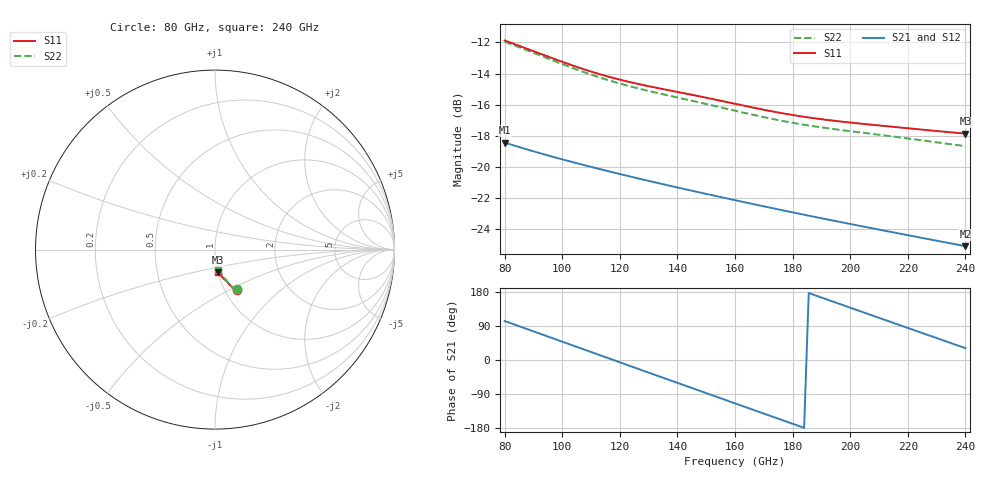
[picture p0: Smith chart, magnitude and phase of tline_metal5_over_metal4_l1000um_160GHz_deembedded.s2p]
! Created with skrf 2.2.0 (http://scikit-rf.org).
# GHz S DB R 50.0
! Port[1] = P1
! Port[2] = P2
!freq dBS11 angS11 dBS21 angS21 dBS12 angS12 dBS22 angS22
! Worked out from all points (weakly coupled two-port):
!   101 points, 80 GHz to 240 GHz, reference 50 ohm
!   highest |S21| = -18.43 dB at 80 GHz (marker M1); lowest = -25.1 dB at 240 GHz (marker M2)
!   lowest |S11| = -17.9 dB at 240 GHz (marker M3), VSWR 1.29, Z = 50.1 - j12.9 ohm
!   |S11| at or under -10 dB: start of sweep to end of sweep
!   |S22| runs from -18.7 to -11.9 dB; largest |S21 - S12| = 1.4e-13
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80  -11.87 -61.7  -18.43 103.0  -18.43 103.0  -11.95 -61.6
86.4  -12.31 -63.6  -18.80 85.5  -18.80 85.5  -12.40 -63.5
92.8  -12.75 -65.3  -19.14 68.0  -19.14 68.0  -12.87 -65.2
100.8  -13.30 -67.0  -19.55 46.2  -19.55 46.2  -13.45 -66.9
107.2  -13.70 -68.0  -19.86 28.8  -19.86 28.8  -13.88 -68.0
113.6  -14.07 -68.8  -20.16 11.4  -20.16 11.4  -14.29 -68.7
120  -14.39 -69.5  -20.45 -6.0  -20.45 -6.0  -14.64 -69.4
126.4  -14.67 -70.2  -20.74 -23.4  -20.74 -23.4  -14.95 -70.0
134.4  -14.98 -71.2  -21.08 -45.1  -21.08 -45.1  -15.30 -70.9
140.8  -15.21 -72.2  -21.35 -62.5  -21.35 -62.5  -15.57 -71.7
147.2  -15.45 -73.2  -21.62 -79.8  -21.62 -79.8  -15.84 -72.6
153.6  -15.69 -74.2  -21.88 -97.1  -21.88 -97.1  -16.11 -73.4
160  -15.94 -75.1  -22.14 -114.4  -22.14 -114.4  -16.39 -74.2
168  -16.25 -75.9  -22.45 -136.0  -22.45 -136.0  -16.72 -74.9
174.4  -16.48 -76.5  -22.70 -153.2  -22.70 -153.2  -16.97 -75.3
180.8  -16.69 -76.9  -22.95 -170.4  -22.95 -170.4  -17.19 -75.6
187.2  -16.86 -77.3  -23.19 172.4  -23.19 172.4  -17.38 -76.0
193.6  -17.01 -77.7  -23.43 155.2  -23.43 155.2  -17.55 -76.3
201.6  -17.18 -78.3  -23.72 133.8  -23.72 133.8  -17.74 -76.9
214.4  -17.41 -79.5  -24.18 99.5  -24.18 99.5  -18.03 -78.1
225.6  -17.61 -80.7  -24.58 69.6  -24.58 69.6  -18.31 -79.3
240  -17.86 -82.0  -25.09 31.3  -25.09 31.3  -18.66 -80.5
